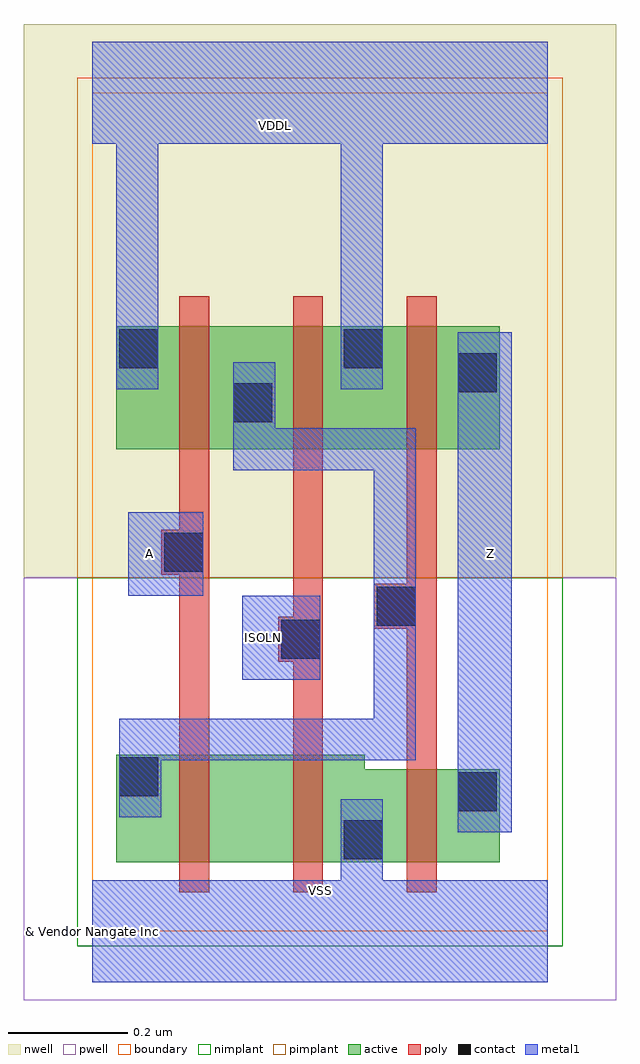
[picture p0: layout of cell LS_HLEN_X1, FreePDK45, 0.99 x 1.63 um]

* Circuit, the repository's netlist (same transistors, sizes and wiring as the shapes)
* 
* ******************************************************************************
* *                                                                            *
* *                   Copyright (C) 2004-2011, Nangate Inc.                    *
* *                           All rights reserved.                             *
* *                                                                            *
* * Nangate and the Nangate logo are trademarks of Nangate Inc.                *
* *                                                                            *
* * All trademarks, logos, software marks, and trade names (collectively the   *
* * "Marks") in this program are proprietary to Nangate or other respective    *
* * owners that have granted Nangate the right and license to use such Marks.  *
* * You are not permitted to use the Marks without the prior written consent   *
* * of Nangate or such third party that may own the Marks.                     *
* *                                                                            *
* * This file has been provided pursuant to a License Agreement containing     *
* * restrictions on its use. This file contains valuable trade secrets and     *
* * proprietary information of Nangate Inc., and is protected by U.S. and      *
* * international laws and/or treaties.                                        *
* *                                                                            *
* * The copyright notice(s) in this file does not indicate actual or intended  *
* * publication of this file.                                                  *
* *                                                                            *
* *     NGLibraryCreator, v2010.08-HR32-SP3-2010-08-05 - build 1009061800      *
* *                                                                            *
* ******************************************************************************
* 
* 
* Running on server08.nangate.com for user Giancarlo Franciscatto (gfr).
* Local time is now Thu, 6 Jan 2011, 19:45:46.
* Main process id is 3320.
*
********************************************************************************
*                                                                              *
* Cellname:   LS_HLEN_X1.                                                      *
*                                                                              *
* Technology: NCSU FreePDK 45nm.                                               *
* Format:     Cdl.                                                             *
*                                                                              *
* Written on server08.nangate.com for user Giancarlo Franciscatto (gfr)        *
* at 19:45:46 on Thu, 6 Jan 2011.                                              *
*                                                                              *
********************************************************************************
.SUBCKT LS_HLEN_X1 A ISOLN Z VDDL VSS 
*.PININFO A:I ISOLN:I Z:O VDDL:P VSS:G
*.EQN Z=(A * ISOLN)
M_i_0 net_001 A net_000 VSS NMOS_VTL W=0.180000U L=0.050000U
M_i_5 VSS ISOLN net_001 VSS NMOS_VTL W=0.180000U L=0.050000U
M_i_11 Z net_000 VSS VSS NMOS_VTL W=0.155000U L=0.050000U
M_i_17 net_000 A VDDL VDDL PMOS_VTL W=0.205000U L=0.050000U
M_i_24 VDDL ISOLN net_000 VDDL PMOS_VTL W=0.205000U L=0.050000U
M_i_30 Z net_000 VDDL VDDL PMOS_VTL W=0.205000U L=0.050000U
.ENDS 

********************************************************************************
*
* END
*
********************************************************************************

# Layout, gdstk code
import gdstk
lib = gdstk.Library(unit=1e-6, precision=1e-10)
def R(c, l, rs):  # rectangles x0, y0, x1, y1
    for r in rs: c.add(gdstk.rectangle(r[:2], r[2:], *l))
def P(c, l, *ps):  # polygons
    for p in ps: c.add(gdstk.Polygon(p, *l))
active = (1, 0)
pwell = (2, 0)
nwell = (3, 0)
nimplant = (4, 0)
pimplant = (5, 0)
poly = (9, 0)
contact = (10, 0)
metal1 = (11, 0)
boundary = (235, 0)

ls_hlen_x1 = lib.new_cell('LS_HLEN_X1')
R(ls_hlen_x1, active, [(0.04,0.805,0.68,1.01)])
P(ls_hlen_x1, active, [(0.04,0.115),(0.68,0.115),(0.68,0.27),(0.455,0.27),(0.455,0.295),(0.04,0.295)])
R(ls_hlen_x1, pwell, [(-0.115,-0.115,0.875,0.59)])
R(ls_hlen_x1, nwell, [(-0.115,0.59,0.875,1.515)])
R(ls_hlen_x1, nimplant, [(-0.025,-0.025,0.785,0.59)])
R(ls_hlen_x1, pimplant, [(-0.025,0.59,0.785,1.425)])
P(ls_hlen_x1, poly, [(0.115,0.595),(0.145,0.595),(0.145,0.065),(0.195,0.065),(0.195,1.06),(0.145,1.06),(0.145,0.67),(0.115,0.67)],
  [(0.31,0.45),(0.335,0.45),(0.335,0.065),(0.385,0.065),(0.385,1.06),(0.335,1.06),(0.335,0.525),(0.31,0.525)],
  [(0.47,0.505),(0.525,0.505),(0.525,0.065),(0.575,0.065),(0.575,1.06),(0.525,1.06),(0.525,0.58),(0.47,0.58)])
R(ls_hlen_x1, contact, [(0.42,0.12,0.485,0.185), (0.61,0.2,0.675,0.265), (0.045,0.225,0.11,0.29), (0.315,0.455,0.38,0.52), (0.475,0.51,0.54,0.575), (0.12,0.6,0.185,0.665), (0.235,0.85,0.3,0.915), (0.61,0.9,0.675,0.965), (0.045,0.94,0.11,1.005), (0.42,0.94,0.485,1.005)])
R(ls_hlen_x1, metal1, [(0.61,0.165,0.7,1), (0.25,0.42,0.38,0.56), (0.06,0.56,0.185,0.7)])
P(ls_hlen_x1, metal1, [(0,-0.085),(0.76,-0.085),(0.76,0.085),(0.485,0.085),(0.485,0.22),(0.415,0.22),(0.415,0.085),(0,0.085)],
  [(0,1.315),(0.04,1.315),(0.04,0.905),(0.11,0.905),(0.11,1.315),(0.415,1.315),(0.415,0.905),(0.485,0.905),(0.485,1.315),(0.76,1.315),(0.76,1.485),(0,1.485)],
  [(0.235,0.77),(0.47,0.77),(0.47,0.355),(0.045,0.355),(0.045,0.19),(0.115,0.19),(0.115,0.285),(0.54,0.285),(0.54,0.84),(0.305,0.84),(0.305,0.95),(0.235,0.95)])
R(ls_hlen_x1, boundary, [(0,0,0.76,1.4)])
ls_hlen_x1.add(gdstk.Label('A', (0.095,0.63), layer=11, texttype=0))
ls_hlen_x1.add(gdstk.Label('VDDL', (0.305,1.345), layer=11, texttype=0))
ls_hlen_x1.add(gdstk.Label('VSS', (0.38,0.0675), layer=11, texttype=0))
ls_hlen_x1.add(gdstk.Label('Z', (0.665,0.63), layer=11, texttype=0))
ls_hlen_x1.add(gdstk.Label('ISOLN', (0.285,0.49), layer=11, texttype=0))
ls_hlen_x1.add(gdstk.Label('& Vendor Nangate Inc', (0,0), layer=63, texttype=63))
ls_hlen_x1.add(gdstk.Label('& Product Open Cell Library', (0,0), layer=63, texttype=63))
ls_hlen_x1.add(gdstk.Label('& Version 2010_12', (0,0), layer=63, texttype=63))
ls_hlen_x1.add(gdstk.Label('& Instance LS_HLEN_X1', (0,0), layer=63, texttype=63))

lib.write_gds('LS_HLEN_X1.gds')
